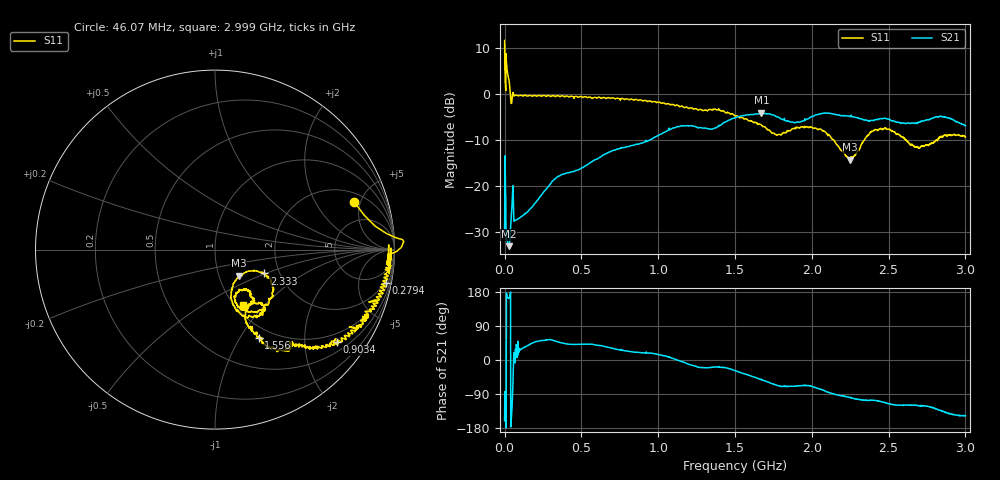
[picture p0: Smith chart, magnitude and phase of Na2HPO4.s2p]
# HZ S RI R 50
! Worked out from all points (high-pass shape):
!   2020 points, 10 kHz to 3 GHz, reference 50 ohm
!   highest |S21| = -3.98 dB at 1.672 GHz (marker M1); lowest = -33.0 dB at 28.24 MHz (marker M2)
!   |S21| within 3 dB of the highest: 1.131 GHz to 1.241 GHz (109.7 MHz wide, 9.25 % of centre); 1.389 GHz to end of sweep
!   lowest |S11| = -14.2 dB at 2.25 GHz (marker M3), VSWR 1.49, Z = 62 - j18.7 ohm
!   |S11| at or under -10 dB: 2.145 GHz to 2.341 GHz (195.9 MHz wide, 8.73 % of centre); 2.615537 GHz to 2.617582 GHz (2.045 MHz wide, 0.0781 % of centre); 2.618 GHz to 2.806 GHz (188.1 MHz wide, 6.93 % of centre)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
!   S12 and S22 are empty: the file has one direction only
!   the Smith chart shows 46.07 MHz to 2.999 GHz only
!   S11 on the Smith chart (normalised r, x): 46.07 MHz: 2.69, +4.35; 279.4 MHz: 2, -10; 903.4 MHz: 0.74, -2.80; 1.556 GHz: 0.86, -1.21; 2.333 GHz: 1.67, -0.49; 2.999 GHz: 1.09, -0.77
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10000  2.8 2.664  -0.0322 -0.0115  0 0  0 0
1.635467e7  0.0125 1.848  -0.0254 0.00519  0 0  0 0
2.378406e7  0.3542 1.502  -0.0225 0.00675  0 0  0 0
2.82417e7  0.4957 1.363  -0.0214 0.00659  0 0  0 0
4.607225e7  0.7734 0.2675  -0.0454 -0.0319  0 0  0 0
5.795928e7  1.011 -0.0106  0.0602 -0.00822  0 0  0 0
6.984631e7  0.9789 -0.0302  0.0384 0.0187  0 0  0 0
2.793553e8  0.9535 -0.185  0.0582 0.0784  0 0  0 0
5.007512e8  0.8916 -0.3151  0.1187 0.1051  0 0  0 0
9.034244e8  0.6804 -0.5159  0.2835 0.0975  0 0  0 0
1.000007e9  0.6213 -0.5427  0.3483 0.09  0 0  0 0
1.500748e9  0.266 -0.5166  0.4898 -0.2621  0 0  0 0
1.555725e9  0.2438 -0.4906  0.4786 -0.3439  0 0  0 0
1.671624e9  0.183 -0.4275  0.401 -0.4886  0 0  0 0
1.805353e9  0.2209 -0.299  0.1846 -0.5044  0 0  0 0
2.000003e9  0.2314 -0.3739  0.2012 -0.5381  0 0  0 0
2.249631e9  0.1313 -0.145  -0.0941 -0.5655  0 0  0 0
2.33284e9  0.2741 -0.1328  -0.1437 -0.5154  0 0  0 0
2.500744e9  0.2382 -0.3442  -0.2284 -0.4911  0 0  0 0
2.689451e9  0.1329 -0.2294  -0.2493 -0.4275  0 0  0 0
2.998514e9  0.1584 -0.3111  -0.3871 -0.2452  0 0  0 0
3e9  0.1543 -0.3082  -0.3815 -0.2518  0 0  0 0
